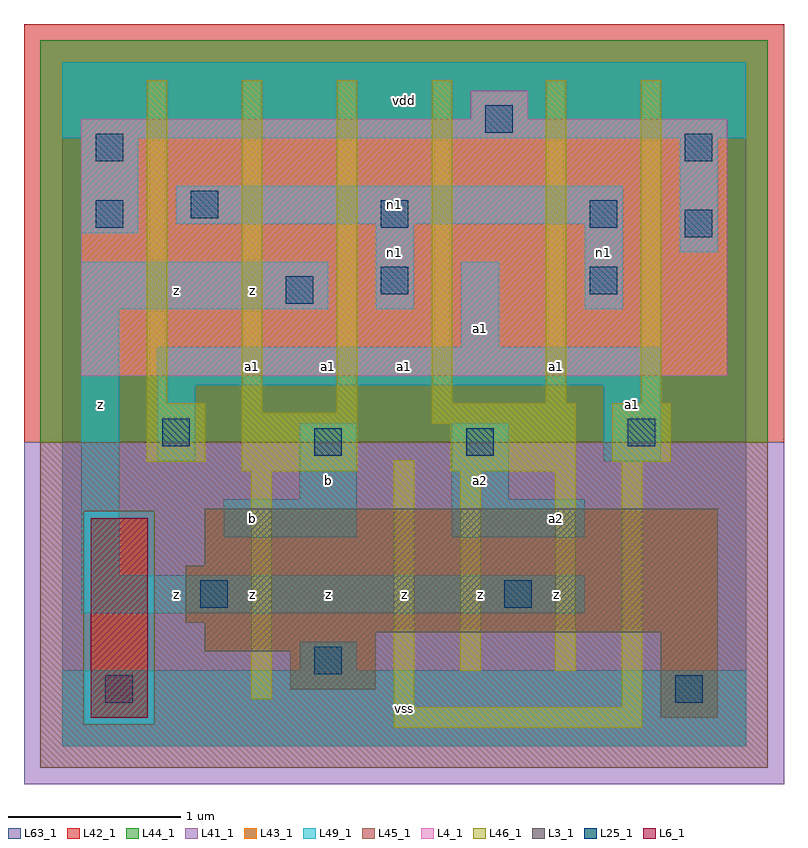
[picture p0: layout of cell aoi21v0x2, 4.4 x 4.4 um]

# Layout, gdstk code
import gdstk
lib = gdstk.Library(unit=1e-6, precision=1e-09)
def R(c, l, rs):  # rectangles x0, y0, x1, y1
    for r in rs: c.add(gdstk.rectangle(r[:2], r[2:], *l))
L3_1 = (3, 1)
L4_1 = (4, 1)
L6_1 = (6, 1)
L25_1 = (25, 1)
L41_1 = (41, 1)
L42_1 = (42, 1)
L43_1 = (43, 1)
L44_1 = (44, 1)
L45_1 = (45, 1)
L46_1 = (46, 1)
L49_1 = (49, 1)
L63_1 = (63, 1)

aoi21v0x2 = lib.new_cell('aoi21v0x2')
R(aoi21v0x2, L3_1, [(3.465,0.165,3.795,0.66), (1.32,0.33,1.815,0.55), (0.825,0.55,1.815,0.66), (0.825,0.66,3.795,0.715), (0.715,0.715,3.795,1.045), (0.825,1.045,3.795,1.375)])
R(aoi21v0x2, L4_1, [(0.11,2.145,3.85,3.63), (2.365,3.63,2.695,3.795)])
R(aoi21v0x2, L6_1, [(0.165,0.165,0.495,1.32)])
R(aoi21v0x2, L25_1, [(0.25,0.25,0.41,0.41), (3.55,0.25,3.71,0.41), (1.46,0.415,1.62,0.575), (0.8,0.8,0.96,0.96), (2.56,0.8,2.72,0.96), (1.46,1.68,1.62,1.84), (2.34,1.68,2.5,1.84), (0.58,1.735,0.74,1.895), (3.275,1.735,3.435,1.895), (1.295,2.56,1.455,2.72), (1.845,2.615,2.005,2.775), (3.055,2.615,3.215,2.775), (3.605,2.945,3.765,3.105), (0.195,3,0.355,3.16), (1.845,3,2.005,3.16), (3.055,3,3.215,3.16), (0.745,3.055,0.905,3.215), (0.195,3.385,0.355,3.545), (3.605,3.385,3.765,3.545), (2.45,3.55,2.61,3.71)])
R(aoi21v0x2, L41_1, [(-0.22,-0.22,4.18,1.76)])
R(aoi21v0x2, L42_1, [(-0.22,1.76,4.18,4.18)])
R(aoi21v0x2, L43_1, [(0.165,0.165,0.495,1.32), (3.465,0.165,3.795,0.66), (1.32,0.33,1.815,0.55), (0.825,0.55,1.815,0.66), (0.825,0.66,3.795,0.715), (0.715,0.715,3.795,1.045), (0.825,1.045,3.795,1.375), (0.11,2.145,3.85,3.63), (2.365,3.63,2.695,3.795)])
R(aoi21v0x2, L44_1, [(0.125,0.125,0.535,1.36), (-0.125,1.76,4.085,4.085)])
R(aoi21v0x2, L45_1, [(-0.125,-0.125,4.085,0.125), (-0.125,0.125,0.125,1.36), (0.535,0.125,4.085,1.36), (-0.125,1.36,4.085,1.76)])
R(aoi21v0x2, L46_1, [(1.92,0.105,3.36,0.225), (1.92,0.225,2.04,1.655), (3.24,0.225,3.36,1.645), (1.095,0.27,1.215,1.59), (2.305,0.435,2.425,1.59), (2.855,0.435,2.975,1.59), (1.04,1.59,1.71,1.93), (2.25,1.59,2.975,1.865), (0.49,1.645,0.83,1.985), (3.185,1.645,3.525,1.985), (2.14,1.865,2.975,1.985), (1.04,1.93,1.16,3.855), (1.59,1.93,1.71,3.855), (0.49,1.985,0.61,3.855), (2.14,1.985,2.26,3.855), (2.8,1.985,2.92,3.855), (3.35,1.985,3.47,3.855)])
R(aoi21v0x2, L49_1, [(0,0,3.96,0.44), (1.375,0.44,1.705,0.605), (0.11,0.77,3.025,0.99), (0.11,0.99,0.33,2.53), (0.935,1.21,1.705,1.43), (2.255,1.21,3.025,1.43), (1.375,1.43,1.705,1.87), (2.255,1.43,2.585,1.87), (0.55,1.65,0.77,2.09), (3.135,1.65,3.465,2.09), (0.55,2.09,3.465,2.31), (2.31,2.31,2.53,2.805), (0.11,2.53,1.54,2.805), (1.815,2.53,2.035,3.025), (3.025,2.53,3.245,3.025), (3.575,2.86,3.795,3.52), (0.11,2.97,0.44,3.52), (0.66,3.025,3.245,3.245), (0,3.52,3.96,3.96)])
R(aoi21v0x2, L63_1, [(0,0,3.96,3.96)])
aoi21v0x2.add(gdstk.Label('z', (0.22,1.98), layer=49, texttype=1))
aoi21v0x2.add(gdstk.Label('z', (1.1,0.88), layer=49, texttype=1))
aoi21v0x2.add(gdstk.Label('z', (0.66,0.88), layer=49, texttype=1))
aoi21v0x2.add(gdstk.Label('b', (1.1,1.32), layer=49, texttype=1))
aoi21v0x2.add(gdstk.Label('a1', (1.1,2.2), layer=49, texttype=1))
aoi21v0x2.add(gdstk.Label('z', (0.66,2.64), layer=49, texttype=1))
aoi21v0x2.add(gdstk.Label('z', (1.1,2.64), layer=49, texttype=1))
aoi21v0x2.add(gdstk.Label('vss', (1.98,0.22), layer=49, texttype=1))
aoi21v0x2.add(gdstk.Label('z', (1.98,0.88), layer=49, texttype=1))
aoi21v0x2.add(gdstk.Label('z', (1.54,0.88), layer=49, texttype=1))
aoi21v0x2.add(gdstk.Label('b', (1.54,1.54), layer=49, texttype=1))
aoi21v0x2.add(gdstk.Label('a1', (1.54,2.2), layer=49, texttype=1))
aoi21v0x2.add(gdstk.Label('a1', (1.98,2.2), layer=49, texttype=1))
aoi21v0x2.add(gdstk.Label('n1', (1.925,2.86), layer=49, texttype=1))
aoi21v0x2.add(gdstk.Label('vdd', (1.98,3.74), layer=49, texttype=1))
aoi21v0x2.add(gdstk.Label('z', (2.86,0.88), layer=49, texttype=1))
aoi21v0x2.add(gdstk.Label('z', (2.42,0.88), layer=49, texttype=1))
aoi21v0x2.add(gdstk.Label('a2', (2.86,1.32), layer=49, texttype=1))
aoi21v0x2.add(gdstk.Label('a2', (2.42,1.54), layer=49, texttype=1))
aoi21v0x2.add(gdstk.Label('a1', (2.86,2.2), layer=49, texttype=1))
aoi21v0x2.add(gdstk.Label('a1', (2.42,2.42), layer=49, texttype=1))
aoi21v0x2.add(gdstk.Label('a1', (3.3,1.98), layer=49, texttype=1))
aoi21v0x2.add(gdstk.Label('n1', (3.135,2.86), layer=49, texttype=1))
aoi21v0x2.add(gdstk.Label('n1', (1.925,3.135), layer=49, texttype=1))

lib.write_gds('aoi21v0x2.gds')
